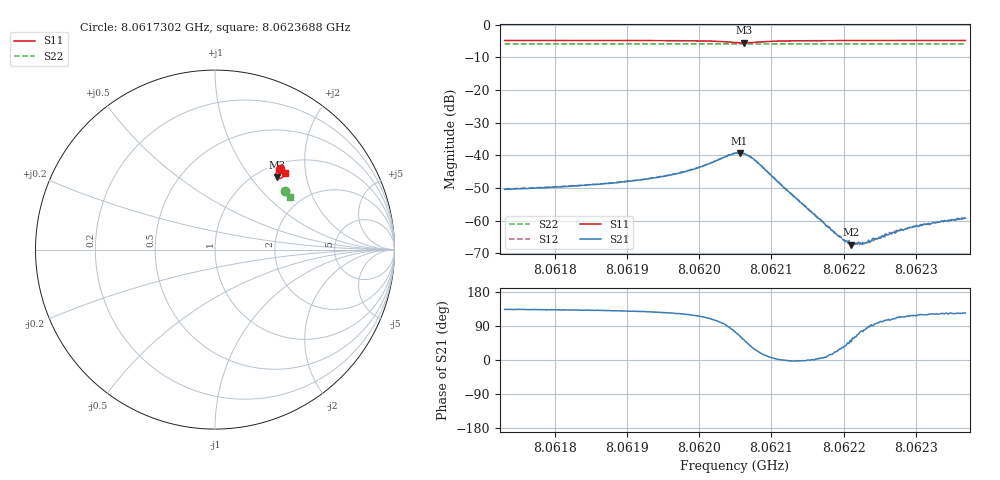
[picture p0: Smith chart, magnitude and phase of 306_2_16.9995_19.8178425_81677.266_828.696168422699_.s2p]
#  HZ  S  RI  R  50.00
! Rohde & Schwarz Vector Network Analyzer
! Rohde-Schwarz,ZNB20-2Port,1311601062101988,3.16
! Created: UTC 3/20/2024, 11:05:48 PM
! freq[Hz]  re:S11  im:S11  re:S21  im:S21  re:S12  im:S12  re:S22  im:S22
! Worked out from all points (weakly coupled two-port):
!   401 points, 8.0617302 GHz to 8.0623688 GHz, reference 50 ohm
!   highest |S21| = -39.27 dB at 8.0620559 GHz (marker M1); lowest = -67.4 dB at 8.0622107 GHz (marker M2)
!   lowest |S11| = -5.5 dB at 8.0620622 GHz (marker M3), VSWR 3.25, Z = 60.7 + j68 ohm
!   |S11| at or under -10 dB: nowhere
!   |S22| runs from -5.9 to -5.8 dB; largest |S21 - S12| = 0.00082
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8.06173017e9  0.3601 0.4494  -0.00207 0.00218  -0.00198 0.00234  0.3926 0.3266
8.06183714e9  0.3675 0.4431  -0.00229 0.00261  -0.00219 0.00275  0.3966 0.3214
8.06188823e9  0.3714 0.4393  -0.00244 0.00296  -0.00231 0.00314  0.3986 0.3187
8.0619441e9  0.3761 0.4334  -0.00272 0.00375  -0.00252 0.00393  0.4008 0.3159
8.06199359e9  0.3804 0.4235  -0.00286 0.0055  -0.00254 0.00571  0.4024 0.313
8.06204947e9  0.3608 0.3966  0.00289 0.0104  0.00346 0.0102  0.403 0.3095
8.06205586e9  0.3521 0.398  0.00477 0.00978  0.00538 0.00958  0.4028 0.3093
8.06206224e9  0.3442 0.4029  0.00641 0.0084  0.00711 0.00798  0.403 0.3094
8.06207661e9  0.3384 0.421  0.00746 0.004  0.00776 0.00353  0.4034 0.3097
8.06215644e9  0.3679 0.4384  0.00131 1.41e-05  0.00135 -8.88e-05  0.4077 0.3063
8.06218996e9  0.3732 0.4363  0.000579 0.000232  0.000599 0.000185  0.409 0.3046
8.06220274e9  0.3748 0.4354  0.000391 0.000296  0.000385 0.000255  0.4096 0.3039
8.06221072e9  0.3757 0.4349  0.000284 0.000319  0.000284 0.000335  0.4099 0.3034
8.06221232e9  0.3759 0.4349  0.000238 0.000382  0.00028 0.000353  0.4098 0.3034
8.06222828e9  0.3776 0.4338  7.77e-05 0.000435  0.000105 0.000431  0.4104 0.3026
8.06223786e9  0.3783 0.4332  -2.53e-05 0.00048  1.3e-05 0.000475  0.4107 0.3021
8.06224584e9  0.379 0.4328  -6.34e-05 0.00053  -1.57e-05 0.000521  0.4112 0.3016
8.0622634e9  0.3807 0.4316  -0.000162 0.000606  -0.000153 0.000644  0.4117 0.3007
8.06227618e9  0.3817 0.4308  -0.000264 0.000648  -0.000238 0.000695  0.4122 0.3
8.06229853e9  0.3834 0.4296  -0.000385 0.000718  -0.000344 0.000725  0.413 0.299
8.06233684e9  0.3862 0.4273  -0.000529 0.000831  -0.000485 0.000868  0.4144 0.297
8.06236877e9  0.3884 0.4257  -0.000603 0.000912  -0.000544 0.000947  0.4155 0.2953
